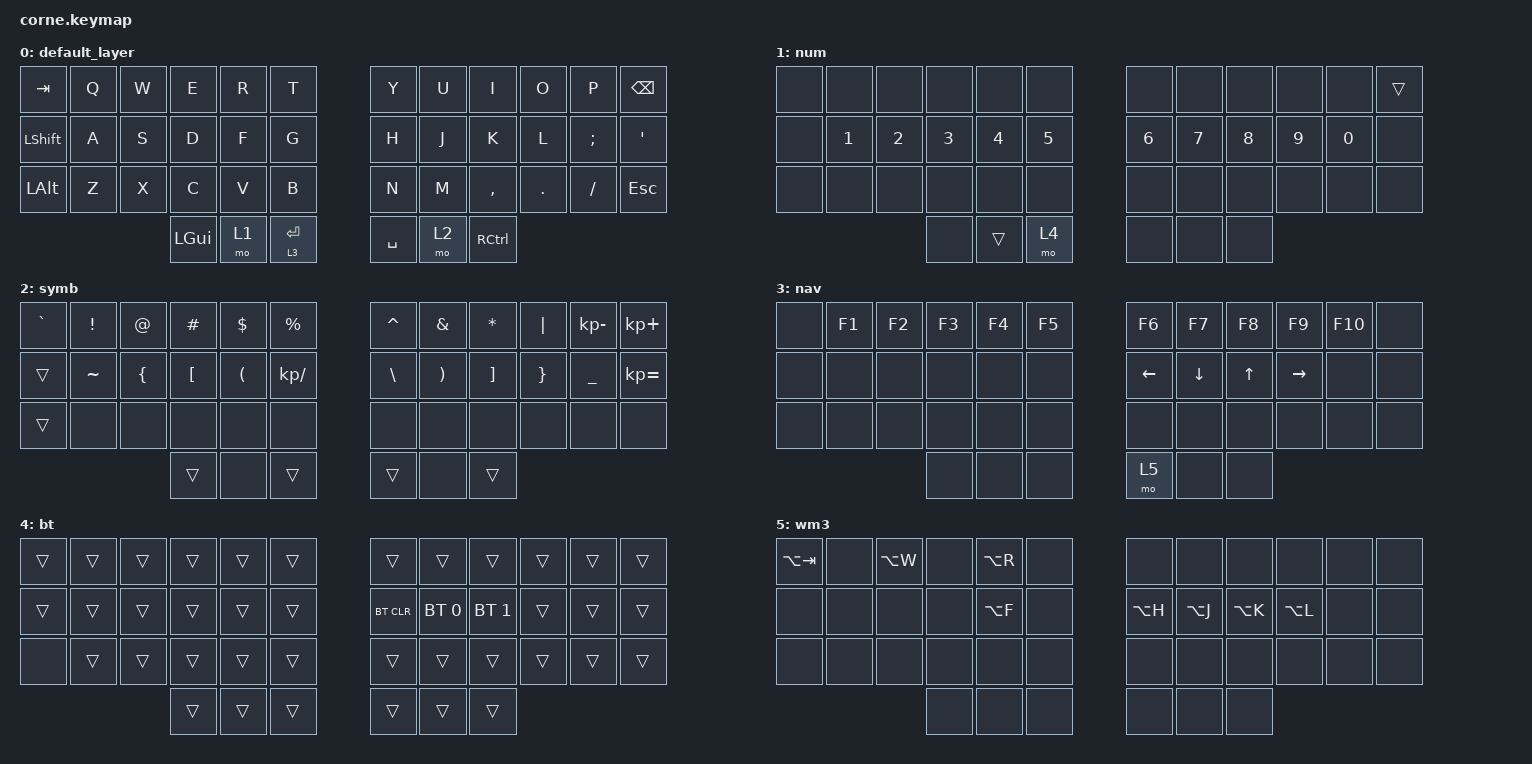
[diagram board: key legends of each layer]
/*
 * Copyright (c) 2020 The ZMK Contributors
 *
 * SPDX-License-Identifier: MIT
 */

#include <behaviors.dtsi>
#include <dt-bindings/zmk/bt.h>
#include <dt-bindings/zmk/keys.h>

/ {
    behaviors {
        hold_tap_layer: hold_tap_layer {
            compatible = "zmk,behavior-hold-tap";
            label = "HOLD_TAP_LAYER";
            bindings = <&mo>, <&kp>;

            #binding-cells = <2>;
            tapping-term-ms = <200>;
        };

        hold_tap: hold_tap {
            compatible = "zmk,behavior-hold-tap";
            label = "HOLD_TAP";
            bindings = <&kp>, <&kp>;

            #binding-cells = <2>;
            tapping-term-ms = <300>;
            retro-tap;
        };
    };

    keymap {
        compatible = "zmk,keymap";

        default_layer {
            // -----------------------------------------------------------------------------------------
            // |  TAB |  Q  |  W  |  E  |  R  |  T  |   |  Y  |  U   |  I  |  O  |  P  | BKSP |
            // | CTRL |  A  |  S  |  D  |  F  |  G  |   |  H  |  J   |  K  |  L  |  ;  |  '   |
            // | SHFT |  Z  |  X  |  C  |  V  |  B  |   |  N  |  M   |  ,  |  .  |  /  | ESC  |
            //                    | GUI | LWR | SPC |   | ENT | RSE  | ALT |

            bindings = <
&kp TAB         &kp Q  &kp W  &kp E     &kp R  &kp T                      &kp Y      &kp U  &kp I      &kp O    &kp P          &kp BACKSPACE
&kp LEFT_SHIFT  &kp A  &kp S  &kp D     &kp F  &kp G                      &kp H      &kp J  &kp K      &kp L    &kp SEMICOLON  &kp APOSTROPHE
&kp LEFT_ALT    &kp Z  &kp X  &kp C     &kp V  &kp B                      &kp N      &kp M  &kp COMMA  &kp DOT  &kp SLASH      &kp ESCAPE
                              &kp LGUI  &mo 1  &hold_tap_layer 3 ENTER    &kp SPACE  &mo 2  &kp RCTRL
            >;
        };

        num {
            // -----------------------------------------------------------------------------------------
            // |  TAB |  1  |  2  |  3  |  4  |  5  |   |  6  |  7  |  8  |  9  |  0  | BKSP |
            // | BTCLR| BT1 | BT2 | BT3 | BT4 | BT5 |   | LFT | DWN |  UP | RGT |     |      |
            // | SHFT |     |     |     |     |     |   |     |     |     |     |     |      |
            //                    | GUI |     | SPC |   | ENT |     | ALT |

            bindings = <
&none  &none   &none   &none   &none   &none     &none   &none   &none   &none   &none   &trans
&none  &kp N1  &kp N2  &kp N3  &kp N4  &kp N5    &kp N6  &kp N7  &kp N8  &kp N9  &kp N0  &none
&none  &none   &none   &none   &none   &none     &none   &none   &none   &none   &none   &none
                       &none   &trans  &mo 4     &none   &none   &none
            >;
        };

        symb {
            // -----------------------------------------------------------------------------------------
            // |  TAB |  !  |  @  |  #  |  $  |  %  |   |  ^  |  &  |  *  |  (  |  )  | BKSP |
            // | CTRL |     |     |     |     |     |   |  -  |  =  |  [  |  ]  |  \  |  `   |
            // | SHFT |     |     |     |     |     |   |  _  |  +  |  {  |  }  | "|" |  ~   |
            //                    | GUI |     | SPC |   | ENT |     | ALT |

            bindings = <
&kp GRAVE  &kp EXCL   &kp AT          &kp HASH          &kp DLLR              &kp PRCNT       &kp CARET      &kp AMPS               &kp STAR           &kp PIPE         &kp KP_MINUS    &kp KP_PLUS
&trans     &kp TILDE  &kp LEFT_BRACE  &kp LEFT_BRACKET  &kp LEFT_PARENTHESIS  &kp KP_SLASH    &kp BACKSLASH  &kp RIGHT_PARENTHESIS  &kp RIGHT_BRACKET  &kp RIGHT_BRACE  &kp UNDERSCORE  &kp KP_EQUAL
&trans     &none      &none           &none             &none                 &none           &none          &none                  &none              &none            &none           &none
                                      &trans            &none                 &trans          &trans         &none                  &trans
            >;
        };

        nav {
            bindings = <
&none  &kp F1  &kp F2  &kp F3  &kp F4  &kp F5    &kp F6          &kp F7    &kp F8  &kp F9     &kp F10  &none
&none  &none   &none   &none   &none   &none     &kp LEFT_ARROW  &kp DOWN  &kp UP  &kp RIGHT  &none    &none
&none  &none   &none   &none   &none   &none     &none           &none     &none   &none      &none    &none
                       &none   &none   &none     &mo 5           &none     &none
            >;
        };

        bt {
            bindings = <
&trans  &trans  &trans  &trans  &trans  &trans    &trans      &trans        &trans        &trans  &trans  &trans
&trans  &trans  &trans  &trans  &trans  &trans    &bt BT_CLR  &bt BT_SEL 0  &bt BT_SEL 1  &trans  &trans  &trans
&none   &trans  &trans  &trans  &trans  &trans    &trans      &trans        &trans        &trans  &trans  &trans
                        &trans  &trans  &trans    &trans      &trans        &trans
            >;
        };

        wm3 {
            bindings = <
&kp LA(TAB)  &none  &kp LA(W)  &none  &kp LA(R)  &none    &none      &none      &none      &none      &none  &none
&none        &none  &none      &none  &kp LA(F)  &none    &kp LA(H)  &kp LA(J)  &kp LA(K)  &kp LA(L)  &none  &none
&none        &none  &none      &none  &none      &none    &none      &none      &none      &none      &none  &none
                               &none  &none      &none    &none      &none      &none
            >;
        };
    };
};
